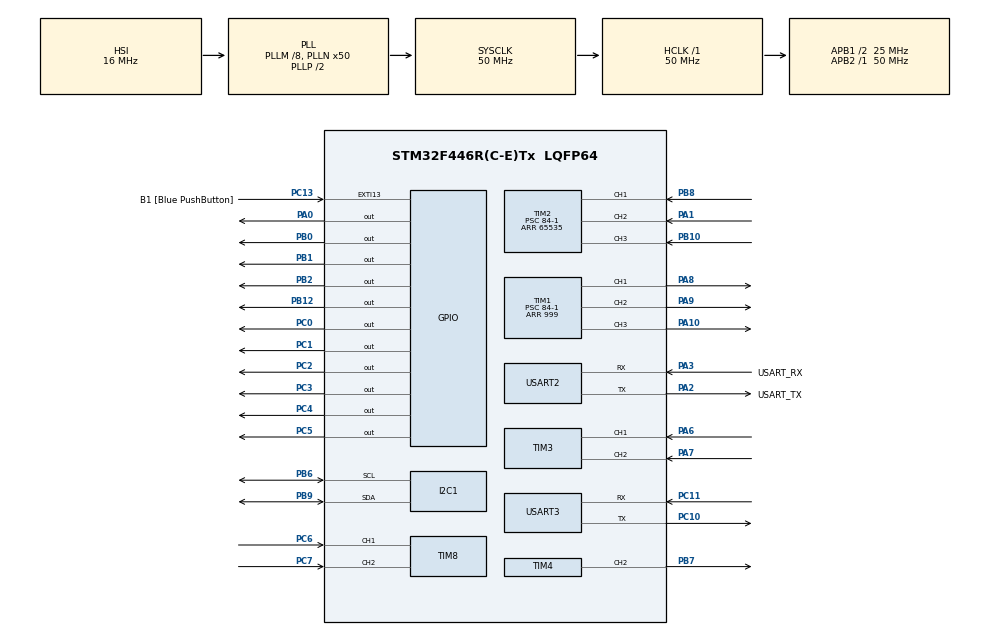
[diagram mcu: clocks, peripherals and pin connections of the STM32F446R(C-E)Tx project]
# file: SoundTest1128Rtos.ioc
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FREERTOS.Mutexes01=myMutex,Dynamic,NULL,Available
FREERTOS.Tasks01=defaultTask,24,128,StartDefaultTask,Default,NULL,Dynamic,NULL,NULL;DrivingTask,16,128,StartDrivingTask,Default,NULL,Dynamic,NULL,NULL;CommTask,8,256,StartCommTask,Default,NULL,Dynamic,NULL,NULL
FREERTOS.configTIMER_TASK_STACK_DEPTH=1024
FREERTOS.configUSE_NEWLIB_REENTRANT=1
I2C1.I2C_Mode=I2C_Fast
Mcu.Family=STM32F4
Mcu.Name=STM32F446R(C-E)Tx
Mcu.Package=LQFP64
NVIC.PriorityGroup=NVIC_PRIORITYGROUP_4
NVIC.TIM1_BRK_TIM9_IRQn=true\:5\:0\:false\:false\:true\:true\:true\:true\:true
NVIC.TIM1_UP_TIM10_IRQn=true\:5\:0\:false\:false\:true\:true\:true\:true\:true
NVIC.TIM2_IRQn=true\:5\:0\:false\:false\:true\:true\:true\:true\:true
NVIC.TIM5_IRQn=true\:15\:0\:false\:false\:true\:false\:false\:true\:true
NVIC.TIM6_DAC_IRQn=true\:5\:0\:false\:false\:true\:true\:true\:true\:true
NVIC.TimeBase=TIM5_IRQn
NVIC.TimeBaseIP=TIM5
NVIC.USART2_IRQn=true\:5\:0\:false\:false\:true\:true\:true\:true\:true
NVIC.USART3_IRQn=true\:5\:0\:false\:false\:true\:true\:true\:true\:true
PA0-WKUP.Signal=GPIO_Output
PA1.Signal=S_TIM2_CH2
PA10.Signal=S_TIM1_CH3
PA13.GPIO_Label=TMS
PA13.Mode=Serial_Wire
PA13.Signal=SYS_JTMS-SWDIO
PA14.GPIO_Label=TCK
PA14.Mode=Serial_Wire
PA14.Signal=SYS_JTCK-SWCLK
PA2.GPIO_Label=USART_TX
PA2.Mode=Asynchronous
PA2.Signal=USART2_TX
PA3.GPIO_Label=USART_RX
PA3.Mode=Asynchronous
PA3.Signal=USART2_RX
PA6.Signal=S_TIM3_CH1
PA7.Signal=S_TIM3_CH2
PA8.Signal=S_TIM1_CH1
PA9.Signal=S_TIM1_CH2
PB0.Signal=GPIO_Output
PB1.Signal=GPIO_Output
PB10.Signal=S_TIM2_CH3
PB12.Signal=GPIO_Output
PB2.Signal=GPIO_Output
PB3.GPIO_Label=SWO
PB3.Signal=SYS_JTDO-SWO
PB6.Mode=I2C
PB6.Signal=I2C1_SCL
PB7.Signal=S_TIM4_CH2
PB8.Signal=S_TIM2_CH1_ETR
PB9.Mode=I2C
PB9.Signal=I2C1_SDA
PC0.Signal=GPIO_Output
PC1.Signal=GPIO_Output
PC10.Mode=Asynchronous
PC10.Signal=USART3_TX
PC11.Mode=Asynchronous
PC11.Signal=USART3_RX
PC13.GPIO_Label=B1 [Blue PushButton]
PC13.GPIO_ModeDefaultEXTI=GPIO_MODE_IT_FALLING
PC13.Signal=GPXTI13
PC14-OSC32_IN.Mode=LSE-External-Oscillator
PC14-OSC32_IN.Signal=RCC_OSC32_IN
PC15-OSC32_OUT.Mode=LSE-External-Oscillator
PC15-OSC32_OUT.Signal=RCC_OSC32_OUT
PC2.Signal=GPIO_Output
PC3.Signal=GPIO_Output
PC4.Signal=GPIO_Output
PC5.Signal=GPIO_Output
PC6.Signal=S_TIM8_CH1
PC7.Signal=S_TIM8_CH2
PH0-OSC_IN.Mode=HSE-External-Oscillator
PH0-OSC_IN.Signal=RCC_OSC_IN
PH1-OSC_OUT.Mode=HSE-External-Oscillator
PH1-OSC_OUT.Signal=RCC_OSC_OUT
ProjectManager.HeapSize=0x200
ProjectManager.StackSize=0x400
ProjectManager.TargetToolchain=STM32CubeIDE
RCC.48MHZClocksFreq_Value=84000000
RCC.AHBFreq_Value=50000000
RCC.APB1CLKDivider=RCC_HCLK_DIV2
RCC.APB1Freq_Value=25000000
RCC.APB1TimFreq_Value=50000000
RCC.APB2Freq_Value=50000000
RCC.APB2TimFreq_Value=50000000
RCC.CortexFreq_Value=50000000
RCC.FLatency-AdvancedSettings=FLASH_LATENCY_1
RCC.HCLKFreq_Value=50000000
RCC.HSE_VALUE=8000000
RCC.HSI_VALUE=16000000
RCC.PLLM=8
RCC.PLLN=50
RCC.SYSCLKFreq_VALUE=50000000
RCC.SYSCLKSource=RCC_SYSCLKSOURCE_PLLCLK
RCC.USBFreq_Value=50000000
RCC.VCOOutputFreq_Value=100000000
SH.S_TIM1_CH1.0=TIM1_CH1,PWM Generation1 CH1
SH.S_TIM1_CH2.0=TIM1_CH2,PWM Generation2 CH2
SH.S_TIM1_CH3.0=TIM1_CH3,PWM Generation3 CH3
SH.S_TIM2_CH1_ETR.0=TIM2_CH1,Input_Capture1_from_TI1
SH.S_TIM2_CH2.0=TIM2_CH2,Input_Capture2_from_TI2
SH.S_TIM2_CH3.0=TIM2_CH3,Input_Capture3_from_TI3
SH.S_TIM3_CH1.0=TIM3_CH1,Encoder_Interface
SH.S_TIM3_CH2.0=TIM3_CH2,Encoder_Interface
SH.S_TIM4_CH2.0=TIM4_CH2,PWM Generation2 CH2
SH.S_TIM8_CH1.0=TIM8_CH1,Encoder_Interface
SH.S_TIM8_CH2.0=TIM8_CH2,Encoder_Interface
TIM1.Channel-PWM\ Generation1\ CH1=TIM_CHANNEL_1
TIM1.Channel-PWM\ Generation2\ CH2=TIM_CHANNEL_2
TIM1.Channel-PWM\ Generation3\ CH3=TIM_CHANNEL_3
TIM1.Period=999
TIM1.Prescaler=84-1
TIM2.Channel-Input_Capture1_from_TI1=TIM_CHANNEL_1
TIM2.Channel-Input_Capture2_from_TI2=TIM_CHANNEL_2
TIM2.Channel-Input_Capture3_from_TI3=TIM_CHANNEL_3
TIM2.Period=65535
TIM2.Prescaler=84-1
TIM4.Channel-PWM\ Generation2\ CH2=TIM_CHANNEL_2
TIM4.Period=999
TIM4.Prescaler=84-1
TIM6.Period=99
TIM6.Prescaler=4999
USART2.VirtualMode=VM_ASYNC
USART3.VirtualMode=VM_ASYNC
VP_FREERTOS_VS_CMSIS_V2.Mode=CMSIS_V2
VP_SYS_VS_tim5.Mode=TIM5
VP_TIM1_VS_ClockSourceINT.Mode=Internal
VP_TIM2_VS_ClockSourceINT.Mode=Internal
VP_TIM6_VS_ClockSourceINT.Mode=Enable_Timer
board=NUCLEO-F446RE

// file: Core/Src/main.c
/* USER CODE BEGIN Header */
/**
  ******************************************************************************
  * @file           : main.c
  * @brief          : Main program body
  ******************************************************************************
  * @attention
  *
  * Copyright (c) 2025 STMicroelectronics.
  * All rights reserved.
  *
  * This software is licensed under terms that can be found in the LICENSE file
  * in the root directory of this software component.
  * If no LICENSE file comes with this software, it is provided AS-IS.
  *
  ******************************************************************************
  */
/* USER CODE END Header */
#include "main.h"
#include "cmsis_os.h"

/* USER CODE BEGIN Includes */
#include <stdio.h>    // printf, sprintf 사용
#include <stdarg.h>   // 가변 인자 사용
#include <math.h>
#include "ESP8266_HAL.h"
#include <string.h>   // strlen 사용
#include "stm32f4xx_hal.h" // HAL 함수 사용
#include "mpu6050.h"  // Edge-AI용 MPU6050 드라이버
#include "edge_ai_wrapper.h"  // Edge Impulse SDK Wrapper 헤더
/* USER CODE END Includes */

/* USER CODE BEGIN PD */
// HC-SR04 핀 정의
#define TRIG_PIN    GPIO_PIN_0
#define TRIG_PORT    GPIOC
#define ECHO_PIN    GPIO_PIN_1
#define ECHO_PORT    GPIOA

#define TRIG_PIN1    GPIO_PIN_1
#define TRIG_PORT1    GPIOC
#define ECHO_PIN1    GPIO_PIN_8
#define ECHO_PORT1    GPIOB

#define TRIG_PIN2    GPIO_PIN_2
#define TRIG_PORT2    GPIOC
#define ECHO_PIN2    GPIO_PIN_10
#define ECHO_PORT2    GPIOB

uint8_t rx_data[100];

// 클럭 설정 (SystemClock_Config 기준 HCLK = 84MHz)
// 1초 = 84,000,000 사이클 -> 1us = 84 사이클
#define DWT_DELAY_UNIT (HAL_RCC_GetHCLKFreq() / 1000000)

// HC-SR04 관련 상수
#define SOUND_SPEED_CM_PER_US 0.0343 // 음속: 343m/s = 0.0343 cm/us
#define MAX_TIMEOUT_US 30000 // 30ms (HC-SR04 최대 측정 거리 고려)

// 모터 1 (A) - ENA: TIM1_CH1 (PA8)
// 방향 핀
#define M1_IN1_PORT GPIOB
#define M1_IN1_PIN  GPIO_PIN_0
#define M1_IN2_PORT GPIOB
#define M1_IN2_PIN  GPIO_PIN_1

// 모터 2 (B) - ENB: TIM1_CH2 (PA9)
// 방향 핀
#define M2_IN1_PORT GPIOB
#define M2_IN1_PIN  GPIO_PIN_2
#define M2_IN2_PORT GPIOB
#define M2_IN2_PIN  GPIO_PIN_12

// 모터 3 (A) - ENA: TIM4_CH2 (Pb7)
#define M3_IN1_PORT GPIOC
#define M3_IN1_PIN  GPIO_PIN_3
#define M3_IN2_PORT GPIOC
#define M3_IN2_PIN  GPIO_PIN_4

// 모터 ID 및 방향 정의
#define MOTOR_A     1
#define MOTOR_B     2
#define MOTOR_C     3

#define FORWARD     1
#define BACKWARD    2
#define RIGHT    3 // 우회전
#define LEFT      4 // 좌회전 (필요시)
#define STOP        0

// PWM 최대값 (CubeMX TIM1 ARR 설정에 따라 변경될 수 있음. 여기서는 1000 가정)
#define PWM_MAX_VALUE 1000

// 벽 감지 임계 거리 (센티미터 단위)
#define WALL_DISTANCE_THRESHOLD 30.0f
// 직진 속도 및 회전 속도 (PWM 값)
#define BASE_SPEED          200
#define TURN_SPEED          300
// 회전 시간 상수 (90도 회전에 필요한 시간, 보정 필요)
#define TURN_90_TIME_MS     3200 // (모터와 바퀴에 따라 크게 달라짐)
// 유턴 시 전진/후진 거리 시간 (본체 폭만큼 이동하기 위한 시간, 보정 필요)
#define BODY_MOVE_TIME_MS   800 // 예시 값 (본체 폭에 따라 조절)

#define MPU6050_ADDR  (0x68 << 1)
#define PWR_MGMT_1    0x6B
#define ACCEL_XOUT_H  0x3B

// Edge-AI 관련 상수
#define EDGE_AI_SAMPLE_COUNT    200    // 2초 @ 100Hz
#define EDGE_AI_AXES            3      // 3축 가속도

/* USER CODE END PD */

I2C_HandleTypeDef hi2c1;

TIM_HandleTypeDef htim1;
TIM_HandleTypeDef htim2;
TIM_HandleTypeDef htim3;
TIM_HandleTypeDef htim4;
TIM_HandleTypeDef htim6;
TIM_HandleTypeDef htim8;

UART_HandleTypeDef huart2;
UART_HandleTypeDef huart3;

/* Definitions for defaultTask */
osThreadId_t defaultTaskHandle;
const osThreadAttr_t defaultTask_attributes = {
  .name = "defaultTask",
  .stack_size = 128 * 4,
  .priority = (osPriority_t) osPriorityNormal,
};
/* Definitions for DrivingTask */
osThreadId_t DrivingTaskHandle;
const osThreadAttr_t DrivingTask_attributes = {
  .name = "DrivingTask",
  .stack_size = 128 * 4,
  .priority = (osPriority_t) osPriorityBelowNormal,
};
/* Definitions for CommTask */
osThreadId_t CommTaskHandle;
const osThreadAttr_t CommTask_attributes = {
  .name = "CommTask",
  .stack_size = 256 * 4,
  .priority = (osPriority_t) osPriorityLow,
};
/* Definitions for myMutex */
osMutexId_t myMutexHandle;
const osMutexAttr_t myMutex_attributes = {
  .name = "myMutex"
};
/* USER CODE BEGIN PV */
TIM_HandleTypeDef htim2;
//2D 맵핑용 위치변수
float g_robot_x = 0.0f;     // 현재의 X 좌표
float g_robot_y = 0.0f;     // 현재의 Y 좌표
float g_robot_yaw = 0.0f;   // 현재의 방향 각도 (단위: 도 Degree)

// Edge-AI 데이터 버퍼
float edge_ai_buffer[EDGE_AI_SAMPLE_COUNT * EDGE_AI_AXES];
volatile uint16_t edge_ai_sample_index = 0;
volatile uint8_t edge_ai_buffer_ready = 0;

// IMU 센서 디버깅용 변수
volatile uint8_t imu_debug_counter = 0;  // 0.1초마다 출력하기 위한 카운터
volatile uint8_t imu_debug_ready = 0;    // 출력 준비 플래그
float imu_debug_ax, imu_debug_ay, imu_debug_az;  // 마지막 측정값 저장

// MQTT 관련 전역 변수
#define WIZFI360_MAX_RESPONSE_SIZE 512
char wizfi_rx_buffer[WIZFI360_MAX_RESPONSE_SIZE];

// MQTT Subscribe 수신 버퍼
#define MQTT_RX_BUF_SIZE 256
char mqtt_rx_buf[MQTT_RX_BUF_SIZE];
int mqtt_rx_len = 0;

// MQTT control 상태 변수
int g_powerOn = -1;          // 0 = OFF, 1 = ON
int g_fanSpeed = -1;         // 0~3
int g_modeManual = -1;       // 0 = AUTO, 1 = MANUAL
char g_direction[8] = "NULL";  // "FWD","BACK","LEFT","RIGHT","STOP"

// Edge-AI 판별 결과 저장 (실시간 업데이트)
char g_current_floor[16] = "Unknown";  // "Hard", "Carpet", "Dusty", "Unknown"
/* USER CODE END PV */

void SystemClock_Config(void);
static void MX_GPIO_Init(void);
static void MX_USART2_UART_Init(void);
static void MX_TIM2_Init(void);
static void MX_TIM1_Init(void);
static void MX_TIM4_Init(void);
static void MX_I2C1_Init(void);
static void MX_USART3_UART_Init(void);
static void MX_TIM3_Init(void);
static void MX_TIM8_Init(void);
static void MX_TIM6_Init(void);
void StartDefaultTask(void *argument);
void StartDrivingTask(void *argument);
void StartCommTask(void *argument);

/* USER CODE BEGIN PFP */
void DWT_Init(void);
void DWT_Delay_us(uint32_t us);
float HCSR04_Read(GPIO_TypeDef *trigPort, uint16_t trigPin,
                  GPIO_TypeDef *echoPort, uint16_t echoPin);
void UART_Printf(const char *format, ...);

// MQTT 함수 선언
void MQTT_ProcessResponseBuffer(uint8_t *buf, uint16_t len);

/* USER CODE END PFP */

/* USER CODE BEGIN 0 */

/**
  * @brief DWT (Data Watchpoint and Trace) 초기화 함수
  * @retval None
  */
void DWT_Init(void) {
    // TRCENA 활성화 (DWT 활성화)
    CoreDebug->DEMCR |= CoreDebug_DEMCR_TRCENA_Msk;
    // CYCCNT 카운터 초기화
    DWT->CYCCNT = 0;
    // CYCCNT 카운터 활성화
    DWT->CTRL |= DWT_CTRL_CYCCNTENA_Msk;
}

/**
  * @brief DWT 기반 마이크로초 지연 함수
  * @param us: 지연할 마이크로초
  * @retval None
  */
void DWT_Delay_us(uint32_t us) {
    uint32_t start_tick = DWT->CYCCNT;
    uint32_t delay_ticks = us * DWT_DELAY_UNIT;
    while ((DWT->CYCCNT - start_tick) < delay_ticks);
}

/**
  * @brief UART2를 이용한 printf 함수
  * @param format: 출력 형식 문자열
  * @retval None
  */
void UART_Printf(const char *format, ...) {
    char str[100];
    va_list args;
    va_start(args, format);
    vsprintf(str, format, args);
    va_end(args);
    // UART 전송 (Blocking 모드)
    HAL_UART_Transmit(&huart2, (uint8_t *)str, strlen(str), HAL_MAX_DELAY);
}

/**
  * @brief HC-SR04 거리 측정 함수
  * @retval 측정 거리 (cm), 실패 시 -1.0
  */
float HCSR04_Read(GPIO_TypeDef *trigPort, uint16_t trigPin,
                  GPIO_TypeDef *echoPort, uint16_t echoPin)
{
    uint32_t start_time, end_time, duration_cycles;

    // 타임아웃 사이클 계산 (us -> cycle)
    // 안전율을 높이기 위해 타임아웃을 50ms로 늘림
    uint32_t timeout_cycles = 50000 * DWT_DELAY_UNIT;

    // [중요] 인터럽트 차단 (RTOS가 측정 방해 못하게 함)
    taskENTER_CRITICAL();

    // 1. Trig 핀 동작 (10us Pulse)
    HAL_GPIO_WritePin(trigPort, trigPin, GPIO_PIN_RESET);
    // 짧은 지연은 루프로 처리 (DWT 호출 오버헤드 줄임)
    for(volatile int i=0; i<10; i++);

    HAL_GPIO_WritePin(trigPort, trigPin, GPIO_PIN_SET);
    // 약 10us 지연
    uint32_t t_pulse = DWT->CYCCNT;
    while((DWT->CYCCNT - t_pulse) < (10 * DWT_DELAY_UNIT));

    HAL_GPIO_WritePin(trigPort, trigPin, GPIO_PIN_RESET);

    // 2. Echo핀 HIGH 대기 (Rising Edge)
    start_time = DWT->CYCCNT;
    while (HAL_GPIO_ReadPin(echoPort, echoPin) == GPIO_PIN_RESET) {
        if ((DWT->CYCCNT - start_time) > timeout_cycles) {
            taskEXIT_CRITICAL(); // 타임아웃 시 반드시 인터럽트 복구
            return -1.0f; // 에러 코드
        }
    }

    // 3. Echo핀 LOW 대기 (Pulse Width 측정)
    start_time = DWT->CYCCNT; // 상승 에지 시점 기록
    while (HAL_GPIO_ReadPin(echoPort, echoPin) == GPIO_PIN_SET) {
        if ((DWT->CYCCNT - start_time) > timeout_cycles) {
            taskEXIT_CRITICAL(); // 타임아웃 시 반드시 인터럽트 복구
            return -2.0f; // 측정 중 타임아웃 에러
        }
    }
    end_time = DWT->CYCCNT;

    // [중요] 측정 끝났으니 인터럽트 허용
    taskEXIT_CRITICAL();

    // 4. 거리 계산
    duration_cycles = end_time - start_time;

    // (사이클 / (1us당 사이클)) * 0.0343 / 2
    float distance = ((float)duration_cycles / (float)DWT_DELAY_UNIT) * 0.0343f / 2.0f;

    // 비정상 값 필터링 (0cm 이나 400cm 이상은 버림)
    if (distance < 0.1f || distance > 400.0f) return -3.0f;

    return distance;
}
/* 안전한 방향 제어 함수 */
void set_motor_direction(uint8_t motor_id, uint8_t direction)
{
    GPIO_TypeDef *in1_port = NULL, *in2_port = NULL;
    uint16_t in1_pin = 0, in2_pin = 0;

    if (motor_id == MOTOR_A) {
        in1_port = M1_IN1_PORT;
        in2_port = M1_IN2_PORT;
        in1_pin  = M1_IN1_PIN;
        in2_pin  = M1_IN2_PIN;
    } else if (motor_id == MOTOR_B) {
        in1_port = M2_IN1_PORT;
        in2_port = M2_IN2_PORT;
        in1_pin  = M2_IN1_PIN;
        in2_pin  = M2_IN2_PIN;
    }else if (motor_id == MOTOR_C) {
        in1_port = M3_IN1_PORT;
        in2_port = M3_IN2_PORT;
        in1_pin  = M3_IN1_PIN;
        in2_pin  = M3_IN2_PIN;
    }
    else {
        return;
    }

    if (direction == FORWARD) {
        HAL_GPIO_WritePin(in1_port, in1_pin, GPIO_PIN_SET);
        HAL_GPIO_WritePin(in2_port, in2_pin, GPIO_PIN_RESET);

    } else if (direction == BACKWARD) {
        HAL_GPIO_WritePin(in1_port, in1_pin, GPIO_PIN_RESET);
        HAL_GPIO_WritePin(in2_port, in2_pin, GPIO_PIN_SET);
    }
    else if (direction == BACKWARD) {
           HAL_GPIO_WritePin(in1_port, in1_pin, GPIO_PIN_RESET);
           HAL_GPIO_WritePin(in2_port, in2_pin, GPIO_PIN_SET);
       }
    else { // STOP (coast)
        HAL_GPIO_WritePin(in1_port, in1_pin, GPIO_PIN_RESET);
        HAL_GPIO_WritePin(in2_port, in2_pin, GPIO_PIN_RESET);
    }
}

/* 속도 설정은 그대로 사용하되 PWM_MAX와 TIM1 ARR 일치 확인 필요 */
void set_motor_speed(uint8_t motor_id, uint16_t speed)
{
    if (speed > PWM_MAX_VALUE) speed = PWM_MAX_VALUE;

    if (motor_id == MOTOR_A) {
        __HAL_TIM_SET_COMPARE(&htim1, TIM_CHANNEL_1, speed);
    } else if (motor_id == MOTOR_B) {
        __HAL_TIM_SET_COMPARE(&htim1, TIM_CHANNEL_2, speed);
    } else if (motor_id == MOTOR_C) {
        __HAL_TIM_SET_COMPARE(&htim1, TIM_CHANNEL_3, speed);
    }

}

/* --- 모터 제어 유틸 함수 추가 --- */
void stop_all_motors(void)
{
    set_motor_speed(MOTOR_A, 0);
    set_motor_speed(MOTOR_B, 0);
    set_motor_speed(MOTOR_C, 0);

    set_motor_direction(MOTOR_A, STOP);
    set_motor_direction(MOTOR_B, STOP);
    set_motor_direction(MOTOR_C, STOP);
}

void move_forward_pwm(uint16_t pwm)
{
    set_motor_direction(MOTOR_A, FORWARD);
    set_motor_direction(MOTOR_B, FORWARD);
    set_motor_direction(MOTOR_C, FORWARD);

    set_motor_speed(MOTOR_A, pwm);
    set_motor_speed(MOTOR_B, pwm);
    set_motor_speed(MOTOR_C, pwm);
}

void clean_go_pwm(uint16_t pwm)
{
    set_motor_direction(MOTOR_C, FORWARD);
    set_motor_speed(MOTOR_C, pwm);
}

void move_backward_pwm(uint16_t pwm)
{
    set_motor_direction(MOTOR_A, BACKWARD);
    set_motor_direction(MOTOR_B, BACKWARD);
    set_motor_speed(MOTOR_A, pwm);
    set_motor_speed(MOTOR_B, pwm);
}

void rotate_right_inplace(uint16_t pwm) // 오른쪽으로 제자리 회전 (좌/우 휠 반대방향)
{
    // 왼쪽 앞바퀴 전진, 오른쪽 바퀴 후진 -> 우회전
    set_motor_direction(MOTOR_A, FORWARD);   // 왼쪽
    set_motor_direction(MOTOR_B, BACKWARD);  // 오른쪽
    set_motor_speed(MOTOR_A, pwm);
    set_motor_speed(MOTOR_B, pwm);
}

void rotate_left_inplace(uint16_t pwm) // 왼쪽으로 제자리 회전
{
    set_motor_direction(MOTOR_A, BACKWARD);
    set_motor_direction(MOTOR_B, FORWARD);
    set_motor_speed(MOTOR_A, pwm);
    set_motor_speed(MOTOR_B, pwm);
}

/* 간단한 유턴: 제자리 180도 회전 (두번 90도) */
void perform_u_turn(void)
{
    // 180도: 두 번 90도 회전
    rotate_right_inplace(TURN_SPEED);
    HAL_Delay(TURN_90_TIME_MS);
    stop_all_motors();
    HAL_Delay(100);

    rotate_right_inplace(TURN_SPEED);
    HAL_Delay(TURN_90_TIME_MS);
    stop_all_motors();
    HAL_Delay(100);
}

/* 장애물 발견 시 회피 시퀀스:
   1) 정지
   2) 백업(짧게)
   3) 제자리 회전 90도 (우회전)
   4) 전진 (몸체 폭 만큼)
   5) 유턴(180)으로 라인 닫기(옵션)
*/
void R_avoidance_sequence(void)
{
    // 1) 정지
    stop_all_motors();
    osDelay(50);

    // 2) 백업
    move_backward_pwm(BASE_SPEED);
    osDelay(300); // 300ms 뒤로 (조정 필요)
    stop_all_motors();
    osDelay(50);

    // 3) 제자리 우회전 90도
    rotate_right_inplace(TURN_SPEED);
    osDelay(TURN_90_TIME_MS);
    stop_all_motors();
    osDelay(50);

    // 4) 전진으로 통과
    move_forward_pwm(BASE_SPEED);
    osDelay(BODY_MOVE_TIME_MS);
    stop_all_motors();
    osDelay(50);

    // 3) 제자리 우회전 90도
        rotate_right_inplace(TURN_SPEED);
        osDelay(TURN_90_TIME_MS);
        stop_all_motors();
        osDelay(50);
}

void L_avoidance_sequence(void)
{
    // 1) 정지
    stop_all_motors();
    osDelay(50);

    // 2) 백업
    move_backward_pwm(BASE_SPEED);
    osDelay(300); // 300ms 뒤로 (조정 필요)
    stop_all_motors();
    osDelay(50);

    // 3) 제자리 좌회전 90도
    rotate_left_inplace(TURN_SPEED);
    osDelay(TURN_90_TIME_MS);
    stop_all_motors();
    osDelay(50);

    // 4) 전진으로 통과
    move_forward_pwm(BASE_SPEED);
    osDelay(BODY_MOVE_TIME_MS);
    stop_all_motors();
    osDelay(50);

    // 3) 제자리 좌회전 90도
        rotate_left_inplace(TURN_SPEED);
        osDelay(TURN_90_TIME_MS);
        stop_all_motors();
        osDelay(50);

}

/**
  * @brief 모터 제어를 위해 필요한 초기 설정을 수행합니다.
  * @retval None
  */
void motor_control_init(void)
{
    // 1. PWM 출력 시작 (PA8: ENA, PA9: ENB)
    HAL_TIM_PWM_Start(&htim1, TIM_CHANNEL_1);
    HAL_TIM_PWM_Start(&htim1, TIM_CHANNEL_2);
    HAL_TIM_PWM_Start(&htim1, TIM_CHANNEL_3);

    // 2. 초기 모터 방향 설정 (정지)
    set_motor_direction(MOTOR_A, STOP);
    set_motor_direction(MOTOR_B, STOP);
    set_motor_direction(MOTOR_C, STOP);

    // 3. 초기 모터 속도 설정 (0)
    set_motor_speed(MOTOR_A, 0);
    set_motor_speed(MOTOR_B, 0);
    set_motor_speed(MOTOR_C, 0);

}

// 현재 control 상태를 PuTTY(USART2)에 출력하는 디버그용 함수
void Send_AT_Command(UART_HandleTypeDef *huart_wiz, UART_HandleTypeDef *huart_term, const char *command, uint8_t *response_buffer, uint16_t buffer_size, uint32_t timeout)
{
    // 1. 터미널(huart_term, PuTTY)로 전송할 명령 표시
    char tx_log[64];
    int len = snprintf(tx_log, sizeof(tx_log), "\r\n[CMD] Sending: %s\r\n", command);
    HAL_UART_Transmit(huart_term, (uint8_t *)tx_log, len, HAL_MAX_DELAY);

    // 2. WizFi360 (huart_wiz)에 명령 전송 (명령어 끝에 CR+LF(\r\n) 필수)
    char cmd_with_crlf[128];
    snprintf(cmd_with_crlf, sizeof(cmd_with_crlf), "%s\r\n", command);
    HAL_UART_Transmit(huart_wiz, (uint8_t *)cmd_with_crlf, strlen(cmd_with_crlf), 500);

    // 3. 응답 수신 준비
    memset(response_buffer, 0, buffer_size); // 버퍼 초기화
    uint16_t index = 0;
    uint32_t start_tick = HAL_GetTick();

    // 4. WizFi360으로부터 응답 수신 (간단한 타임아웃 폴링 방식)
    while ((HAL_GetTick() - start_tick) < timeout)
    {
        uint8_t rx_byte;
        // HAL_UART_Receive는 지정된 타임아웃 내에 1바이트를 수신합니다.
        if (HAL_UART_Receive(huart_wiz, &rx_byte, 1, 100) == HAL_OK)
        {
            if (index < buffer_size - 1)
            {
                response_buffer[index++] = rx_byte;
            }
            // 새로운 바이트를 수신할 때마다 타임아웃을 연장합니다.
            start_tick = HAL_GetTick();
        }
    }

    // 5. 수신된 응답을 터미널(huart_term, PuTTY)로 출력
    char *rx_header = "[RSP] Response Received:\r\n";
    HAL_UART_Transmit(huart_term, (uint8_t *)rx_header, strlen(rx_header), HAL_MAX_DELAY);

    MQTT_ProcessResponseBuffer(response_buffer, index);

    // 수신된 raw 데이터를 그대로 터미널로 출력
    HAL_UART_Transmit(huart_term, response_buffer, index, HAL_MAX_DELAY);

    char *rx_footer = "\r\n[END] ----------------------------------\r\n";
    HAL_UART_Transmit(huart_term, (uint8_t *)rx_footer, strlen(rx_footer), HAL_MAX_DELAY);
}

// 현재 control 상태를 PuTTY(USART2)에 출력하는 디버그용 함수
static void Debug_PrintControlState(const char *topic, const char *json)
{
    char buf[160];

    int len = snprintf(buf, sizeof(buf),
                       "\r\n[CONTROL] topic = %s\r\n"
                       "          json  = %s\r\n"
                       "          power = %d, speed = %d, mode = %d, dir = %s\r\n",
                       topic,
                       json,
                       g_powerOn,
                       g_fanSpeed,
                       g_modeManual,
                       g_direction);

    HAL_UART_Transmit(&huart2, (uint8_t *)buf, len, HAL_MAX_DELAY);
}

// -----------------------------------------------------
// MQTT 초기화용 공용 AT 명령 함수들
// -----------------------------------------------------

uint8_t MQTT_SetConfig(
    UART_HandleTypeDef *huart_wiz,
    UART_HandleTypeDef *huart_term,
    const char *user,
    const char *pass,
    const char *clientID,
    int aliveTime,
    uint8_t *resp, uint16_t resp_size
) {
    char cmd[256];
    snprintf(cmd, sizeof(cmd),
             "AT+MQTTSET=\"%s\",\"%s\",\"%s\",%d",
             user, pass, clientID, aliveTime);

    Send_AT_Command(huart_wiz, huart_term, cmd, resp, resp_size, 3000);
    return strstr((char*)resp, "OK") != NULL;
}

uint8_t MQTT_SetTopics(
    UART_HandleTypeDef *huart_wiz,
    UART_HandleTypeDef *huart_term,
    const char *pubTopic,
    const char *subTopic,
    uint8_t *resp, uint16_t resp_size
) {
    char cmd[256];
    snprintf(cmd, sizeof(cmd),
             "AT+MQTTTOPIC=\"%s\",\"%s\"",
             pubTopic, subTopic);

    Send_AT_Command(huart_wiz, huart_term, cmd, resp, resp_size, 3000);
    return strstr((char*)resp, "OK") != NULL;
}

uint8_t MQTT_SetQos(
    UART_HandleTypeDef *huart_wiz,
    UART_HandleTypeDef *huart_term,
    int qos,
    uint8_t *resp, uint16_t resp_size
) {
    char cmd[32];
    snprintf(cmd, sizeof(cmd), "AT+MQTTQOS=%d", qos);

    Send_AT_Command(huart_wiz, huart_term, cmd, resp, resp_size, 2000);
    return strstr((char*)resp, "OK") != NULL;
}

uint8_t MQTT_ConnectBroker(
    UART_HandleTypeDef *huart_wiz,
    UART_HandleTypeDef *huart_term,
    const char *brokerIP,
    int port,
    uint8_t *resp, uint16_t resp_size
) {
    char cmd[128];
    snprintf(cmd, sizeof(cmd),
             "AT+MQTTCON=0,\"%s\",%d",
             brokerIP, port);

    Send_AT_Command(huart_wiz, huart_term, cmd, resp, resp_size, 6000);

    return strstr((char*)resp, "CONNECT") || strstr((char*)resp, "OK");
}

uint8_t MQTT_Init_All(
    UART_HandleTypeDef *huart_wiz,
    UART_HandleTypeDef *huart_term
){
    uint8_t resp[512];

    // -------- Wi-Fi 연결 --------
    Send_AT_Command(huart_wiz, huart_term, "AT", resp, sizeof(resp), 1000);
    Send_AT_Command(huart_wiz, huart_term, "AT+RST", resp, sizeof(resp), 5000);
    Send_AT_Command(huart_wiz, huart_term, "AT+CWMODE=1", resp, sizeof(resp), 2000);

    // WiFi 접속
    Send_AT_Command(huart_wiz, huart_term,
        "AT+CWJAP=\"S24\",\"dial8787@@\"",
        resp, sizeof(resp), 15000);

    // -------- MQTT 설정 --------
    if (!MQTT_SetConfig(huart_wiz, huart_term,
                        "", "", "vibeclean01", 300,
                        resp, sizeof(resp))) return 0;

    if (!MQTT_SetTopics(huart_wiz, huart_term,
                        "vibeclean/robot1/telemetry",
                        "vibeclean/robot1/control/#",
                        resp, sizeof(resp))) return 0;

    if (!MQTT_SetQos(huart_wiz, huart_term, 0, resp, sizeof(resp)))
        return 0;

    if (!MQTT_ConnectBroker(huart_wiz, huart_term,
                            "192.168.178.61", 1883,
                            resp, sizeof(resp)))
        return 0;

    return 1;
}

void Publish_Message(void)
{
    char cmd[512];
    char json_message[400];

    osMutexWait(myMutexHandle, osWaitForever); // 자물쇠 잠그기
    // 실시간 센서 데이터와 AI 판별 결과를 포함한 JSON 생성
    snprintf(json_message, sizeof(json_message),
        "{\"currentFloor\":\"%s\",\"fanSpeed\":%d,"
        "\"position\":{\"x\":%.2f,\"y\":%.2f},"
        "\"sensor\":{\"x\":%.3f,\"y\":%.3f,\"z\":%.3f}}",
        g_current_floor,
        g_fanSpeed > 0 ? g_fanSpeed : 1,
        g_robot_x,
        g_robot_y,
        imu_debug_ax,
        imu_debug_ay,
        imu_debug_az);

    osMutexRelease(myMutexHandle); // 자물쇠 열기

        // 전송 (AT 커맨드) - 여기는 Mutex 밖에서 해야 함! (오래 걸리니까)

    // topic은 이미 AT+MQTTTOPIC로 설정되어 있으므로 메시지만 전달
    snprintf(cmd, sizeof(cmd), "AT+MQTTPUB=\"%s\"", json_message);
    Send_AT_Command(&huart3, &huart2, cmd, wizfi_rx_buffer, WIZFI360_MAX_RESPONSE_SIZE, 1000);
//    WizFi_SendOnly(&huart3, &huart2, cmd); //wizfi통해서 보내기만 하는 애
}

// 토픽과 JSON을 보고 상태 변수에 반영
void HandleControlJson(const char *topic, const char *json)
{
    if (strstr(topic, "control/power")) {
        if (strstr(json, "\"ON\""))  g_powerOn = 1;
        if (strstr(json, "\"OFF\"")) g_powerOn = 0;
    }
    else if (strstr(topic, "control/speed")) {
        int v = 0;
        // 숫자 하나만 뽑는 단순 파서 (예: {"fanSpeed":2})
        sscanf(json, "%*[^0-9]%d", &v);
        if (v < 0) v = 0;
        if (v > 3) v = 3;
        g_fanSpeed = v;
    }
    else if (strstr(topic, "control/mode")) {
        if (strstr(json, "\"MANUAL\"")) g_modeManual = 1;
        if (strstr(json, "\"AUTO\""))   g_modeManual = 0;
    }
    else if (strstr(topic, "control/direction")) {
        if (strstr(json, "\"FWD\""))   strcpy(g_direction, "FWD");
        else if (strstr(json, "\"BACK\""))  strcpy(g_direction, "BACK");
        else if (strstr(json, "\"LEFT\""))  strcpy(g_direction, "LEFT");
        else if (strstr(json, "\"RIGHT\"")) strcpy(g_direction, "RIGHT");
        else if (strstr(json, "\"STOP\""))  strcpy(g_direction, "STOP");
    }

    Debug_PrintControlState(topic, json);
}

// WizFi360이 보낸 한 줄(line)을 토픽 / json 으로 분리
void ParseMqttLine(char *line, int len)
{
    line[len] = '\0';

    // "topic->\"...\"" 형식에서 화살표 위치 찾기
    char *arrow = strstr(line, "->");
    if (!arrow) return;

    *arrow = '\0';
    char *topic = line;
    char *payload = arrow + 2;

    // 공백/따옴표 건너뛰기
    while (*payload == ' ' || *payload == '"' || *payload == '\r' || *payload == '\n')
        payload++;

    // JSON 시작 '{' 위치 찾기
    char *brace = strchr(payload, '{');
    if (!brace) return;

    char *end = strrchr(brace, '}');
    if (!end) return;
    *(end + 1) = '\0';   // JSON 문자열을 '\0'로 끝나게

    HandleControlJson(topic, brace);
}

// WizFi360 응답 버퍼 전체에서 "topic -> { json }" 형태의 구독 메시지를 찾아 처리
void MQTT_ProcessResponseBuffer(uint8_t *buf, uint16_t len)
{
    char line[256];
    uint16_t pos = 0;

    for (uint16_t i = 0; i < len; i++) {
        char c = (char)buf[i];

        // CR은 무시
        if (c == '\r') {
            continue;
        }

        // 줄 끝이거나 line 버퍼가 꽉 찬 경우
        if (c == '\n' || pos >= sizeof(line) - 1) {

            if (pos > 0) {
                line[pos] = '\0';

                // "->" 들어간 라인만 MQTT 메시지로 인정
                if (strstr(line, "->")) {
                    ParseMqttLine(line, strlen(line));
                }
            }

            pos = 0;
        }
        else {
            // 일반 문자는 line에 저장
            line[pos++] = c;
        }
    }

    // 마지막 라인이 '\n' 없이 종료되었을 때 처리
    if (pos > 0) {
        line[pos] = '\0';
        if (strstr(line, "->")) {
            ParseMqttLine(line, strlen(line));
        }
    }
}
/* USER CODE END 0 */

int main(void)
{

  /* USER CODE BEGIN 1 */
//Putty 작동 테스트용 변수
	int countL, countR; //  엔코더 카운트 저장 변수
	char debug_msg[100]; // 디버깅 메시지 버퍼

  /* USER CODE END 1 */

  /* MCU Configuration--------------------------------------------------------*/

  /* Reset of all peripherals, Initializes the Flash interface and the Systick. */
  HAL_Init();

  /* Configure the system clock */
  SystemClock_Config();

  /* Initialize all configured peripherals */
  MX_GPIO_Init();
  MX_USART2_UART_Init();
  MX_TIM2_Init();
  MX_TIM1_Init();
  MX_TIM4_Init();
  MX_I2C1_Init();
  MX_USART3_UART_Init();
  MX_TIM3_Init();
  MX_TIM8_Init();
  MX_TIM6_Init();
  /* USER CODE BEGIN 2 */
  // DWT 초기화 (마이크로초 측정을 위해 필수)
  DWT_Init();
  UART_Printf("STM32 HC-SR04 Measurement Ready (Trig: PA0, Echo: PA1)\r\n");

  motor_control_init(); // <- 반드시 호출 (PWM Start + 초기화)
  HAL_TIM_PWM_Start(&htim4, TIM_CHANNEL_1);

  //엔코더 카운팅 시작
  HAL_TIM_Encoder_Start(&htim3, TIM_CHANNEL_ALL);
  HAL_TIM_Encoder_Start(&htim8, TIM_CHANNEL_ALL);

  // Edge-AI 초기화
  UART_Printf("\r\n=== VibeClean Edge-AI Test ===\r\n");

  // I2C 통신 테스트
  UART_Printf("Testing I2C communication...\r\n");
  uint8_t who_am_i = MPU6050_WhoAmI(&hi2c1);
  UART_Printf("WHO_AM_I Register: 0x%02X (Expected: 0x68)\r\n", who_am_i);

  // MPU6050 센서 초기화
//  UART_Printf("Initializing MPU6050...\r\n");
//  HAL_StatusTypeDef mpu_status = MPU6050_Init(&hi2c1);
//
//  if (mpu_status == HAL_OK) {
//      UART_Printf("MPU6050 Init: OK\r\n");
//  } else {
//      UART_Printf("MPU6050 Init: FAILED! (Status: %d)\r\n", mpu_status);
//      UART_Printf("Check I2C connections (SDA: PB9, SCL: PB8)\r\n");
//      UART_Printf("Check MPU6050 power supply (3.3V)\r\n");
//      UART_Printf("Check pull-up resistors on SDA/SCL (4.7k ohm)\r\n");
//  }
//
//  // Edge Impulse 분류기 초기화
//  if (edge_ai_init() == 0) {
//      UART_Printf("Edge Impulse Init: OK\r\n");
//  } else {
//      UART_Printf("Edge Impulse Init: FAILED!\r\n");
//  }

  // TIM6 100Hz 인터럽트 시작
//  HAL_TIM_Base_Start_IT(&htim6);
//  UART_Printf("TIM6 100Hz Timer: Started\r\n");
//  UART_Printf("Collecting %d samples (%.1f seconds)...\r\n\r\n",
//              EDGE_AI_SAMPLE_COUNT, EDGE_AI_SAMPLE_COUNT / 100.0f);

  /* USER CODE END 2 */

  /* Init scheduler */
  osKernelInitialize();
  /* Create the mutex(es) */
  /* creation of myMutex */
  myMutexHandle = osMutexNew(&myMutex_attributes);

  /* Create the thread(s) */
  /* creation of defaultTask */
  defaultTaskHandle = osThreadNew(StartDefaultTask, NULL, &defaultTask_attributes);

  /* creation of DrivingTask */
  DrivingTaskHandle = osThreadNew(StartDrivingTask, NULL, &DrivingTask_attributes);

  /* creation of CommTask */
  CommTaskHandle = osThreadNew(StartCommTask, NULL, &CommTask_attributes);

  /* Start scheduler */
  osKernelStart();

  /* We should never get here as control is now taken by the scheduler */

  /* Infinite loop */
  /* USER CODE BEGIN WHILE */
  int failCount = 0;
  int tempAovoid = 0; // 0 = right, 1 = left

  char post_data_buffer[150]; //json 문자열 버퍼
  uint32_t last_pub_tick = 0; // 마지막 메시지 발행 시간 저장

  char *start_msg = "STM32 WizFi360 MQTT Test Start! (PuTTY=USART2, WizFi360=USART3)\r\n";
  //  HAL_UART_Transmit(&huart2, (uint8_t *)start_msg, strlen(start_msg), HAL_MAX_DELAY);

  HAL_Delay(1000); // WizFi360 부팅 대기

  //  Setup_WiFi_And_MQTT();
  MQTT_Init_All(&huart3, &huart2);   // Wiz: huart1, Terminal: huart2
//

  osKernelStart(); // 여기서 RTOS 시작! (이 아래 코드는 실행 안 됨)
  while (1)
  {

    /* USER CODE END WHILE */

  }
}

void SystemClock_Config(void)
{
  RCC_OscInitTypeDef RCC_OscInitStruct = {0};
  RCC_ClkInitTypeDef RCC_ClkInitStruct = {0};

  /** Configure the main internal regulator output voltage
  */
  __HAL_RCC_PWR_CLK_ENABLE();
  __HAL_PWR_VOLTAGESCALING_CONFIG(PWR_REGULATOR_VOLTAGE_SCALE3);

  /** Initializes the RCC Oscillators according to the specified parameters
  * in the RCC_OscInitTypeDef structure.
  */
  RCC_OscInitStruct.OscillatorType = RCC_OSCILLATORTYPE_HSI;
  RCC_OscInitStruct.HSIState = RCC_HSI_ON;
  RCC_OscInitStruct.HSICalibrationValue = RCC_HSICALIBRATION_DEFAULT;
  RCC_OscInitStruct.PLL.PLLState = RCC_PLL_ON;
  RCC_OscInitStruct.PLL.PLLSource = RCC_PLLSOURCE_HSI;
  RCC_OscInitStruct.PLL.PLLM = 8;
  RCC_OscInitStruct.PLL.PLLN = 50;
  RCC_OscInitStruct.PLL.PLLP = RCC_PLLP_DIV2;
  RCC_OscInitStruct.PLL.PLLQ = 2;
  RCC_OscInitStruct.PLL.PLLR = 2;
  if (HAL_RCC_OscConfig(&RCC_OscInitStruct) != HAL_OK)
  {
    Error_Handler();
  }

  /** Initializes the CPU, AHB and APB buses clocks
  */
  RCC_ClkInitStruct.ClockType = RCC_CLOCKTYPE_HCLK|RCC_CLOCKTYPE_SYSCLK
                              |RCC_CLOCKTYPE_PCLK1|RCC_CLOCKTYPE_PCLK2;
  RCC_ClkInitStruct.SYSCLKSource = RCC_SYSCLKSOURCE_PLLCLK;
  RCC_ClkInitStruct.AHBCLKDivider = RCC_SYSCLK_DIV1;
  RCC_ClkInitStruct.APB1CLKDivider = RCC_HCLK_DIV2;
  RCC_ClkInitStruct.APB2CLKDivider = RCC_HCLK_DIV1;

  if (HAL_RCC_ClockConfig(&RCC_ClkInitStruct, FLASH_LATENCY_1) != HAL_OK)
  {
    Error_Handler();
  }
}

static void MX_I2C1_Init(void)
{

  hi2c1.Instance = I2C1;
  hi2c1.Init.ClockSpeed = 400000;
  hi2c1.Init.DutyCycle = I2C_DUTYCYCLE_2;
  hi2c1.Init.OwnAddress1 = 0;
  hi2c1.Init.AddressingMode = I2C_ADDRESSINGMODE_7BIT;
  hi2c1.Init.DualAddressMode = I2C_DUALADDRESS_DISABLE;
  hi2c1.Init.OwnAddress2 = 0;
  hi2c1.Init.GeneralCallMode = I2C_GENERALCALL_DISABLE;
  hi2c1.Init.NoStretchMode = I2C_NOSTRETCH_DISABLE;
  if (HAL_I2C_Init(&hi2c1) != HAL_OK)
  {
    Error_Handler();
  }

}

static void MX_TIM1_Init(void)
{

  TIM_ClockConfigTypeDef sClockSourceConfig = {0};
  TIM_MasterConfigTypeDef sMasterConfig = {0};
  TIM_OC_InitTypeDef sConfigOC = {0};
  TIM_BreakDeadTimeConfigTypeDef sBreakDeadTimeConfig = {0};

  htim1.Instance = TIM1;
  htim1.Init.Prescaler = 84-1;
  htim1.Init.CounterMode = TIM_COUNTERMODE_UP;
  htim1.Init.Period = 999;
  htim1.Init.ClockDivision = TIM_CLOCKDIVISION_DIV1;
  htim1.Init.RepetitionCounter = 0;
  htim1.Init.AutoReloadPreload = TIM_AUTORELOAD_PRELOAD_DISABLE;
  if (HAL_TIM_Base_Init(&htim1) != HAL_OK)
  {
    Error_Handler();
  }
  sClockSourceConfig.ClockSource = TIM_CLOCKSOURCE_INTERNAL;
  if (HAL_TIM_ConfigClockSource(&htim1, &sClockSourceConfig) != HAL_OK)
  {
    Error_Handler();
  }
  if (HAL_TIM_PWM_Init(&htim1) != HAL_OK)
  {
    Error_Handler();
  }
  sMasterConfig.MasterOutputTrigger = TIM_TRGO_RESET;
  sMasterConfig.MasterSlaveMode = TIM_MASTERSLAVEMODE_DISABLE;
  if (HAL_TIMEx_MasterConfigSynchronization(&htim1, &sMasterConfig) != HAL_OK)
  {
    Error_Handler();
  }
  sConfigOC.OCMode = TIM_OCMODE_PWM1;
  sConfigOC.Pulse = 0;
  sConfigOC.OCPolarity = TIM_OCPOLARITY_HIGH;
  sConfigOC.OCNPolarity = TIM_OCNPOLARITY_HIGH;
  sConfigOC.OCFastMode = TIM_OCFAST_DISABLE;
  sConfigOC.OCIdleState = TIM_OCIDLESTATE_RESET;
  sConfigOC.OCNIdleState = TIM_OCNIDLESTATE_RESET;
  if (HAL_TIM_PWM_ConfigChannel(&htim1, &sConfigOC, TIM_CHANNEL_1) != HAL_OK)
  {
    Error_Handler();
  }
  if (HAL_TIM_PWM_ConfigChannel(&htim1, &sConfigOC, TIM_CHANNEL_2) != HAL_OK)
  {
    Error_Handler();
  }
  if (HAL_TIM_PWM_ConfigChannel(&htim1, &sConfigOC, TIM_CHANNEL_3) != HAL_OK)
  {
    Error_Handler();
  }
  sBreakDeadTimeConfig.OffStateRunMode = TIM_OSSR_DISABLE;
  sBreakDeadTimeConfig.OffStateIDLEMode = TIM_OSSI_DISABLE;
  sBreakDeadTimeConfig.LockLevel = TIM_LOCKLEVEL_OFF;
  sBreakDeadTimeConfig.DeadTime = 0;
  sBreakDeadTimeConfig.BreakState = TIM_BREAK_DISABLE;
  sBreakDeadTimeConfig.BreakPolarity = TIM_BREAKPOLARITY_HIGH;
  sBreakDeadTimeConfig.AutomaticOutput = TIM_AUTOMATICOUTPUT_DISABLE;
  if (HAL_TIMEx_ConfigBreakDeadTime(&htim1, &sBreakDeadTimeConfig) != HAL_OK)
  {
    Error_Handler();
  }
  HAL_TIM_MspPostInit(&htim1);

}

static void MX_TIM2_Init(void)
{

  TIM_ClockConfigTypeDef sClockSourceConfig = {0};
  TIM_MasterConfigTypeDef sMasterConfig = {0};
  TIM_IC_InitTypeDef sConfigIC = {0};

  htim2.Instance = TIM2;
  htim2.Init.Prescaler = 84-1;
  htim2.Init.CounterMode = TIM_COUNTERMODE_UP;
  htim2.Init.Period = 65535;
  htim2.Init.ClockDivision = TIM_CLOCKDIVISION_DIV1;
  htim2.Init.AutoReloadPreload = TIM_AUTORELOAD_PRELOAD_DISABLE;
  if (HAL_TIM_Base_Init(&htim2) != HAL_OK)
  {
    Error_Handler();
  }
  sClockSourceConfig.ClockSource = TIM_CLOCKSOURCE_INTERNAL;
  if (HAL_TIM_ConfigClockSource(&htim2, &sClockSourceConfig) != HAL_OK)
  {
    Error_Handler();
  }
  if (HAL_TIM_IC_Init(&htim2) != HAL_OK)
  {
    Error_Handler();
  }
  sMasterConfig.MasterOutputTrigger = TIM_TRGO_RESET;
  sMasterConfig.MasterSlaveMode = TIM_MASTERSLAVEMODE_DISABLE;
  if (HAL_TIMEx_MasterConfigSynchronization(&htim2, &sMasterConfig) != HAL_OK)
  {
    Error_Handler();
  }
  sConfigIC.ICPolarity = TIM_INPUTCHANNELPOLARITY_RISING;
  sConfigIC.ICSelection = TIM_ICSELECTION_DIRECTTI;
  sConfigIC.ICPrescaler = TIM_ICPSC_DIV1;
  sConfigIC.ICFilter = 0;
  if (HAL_TIM_IC_ConfigChannel(&htim2, &sConfigIC, TIM_CHANNEL_1) != HAL_OK)
  {
    Error_Handler();
  }
  if (HAL_TIM_IC_ConfigChannel(&htim2, &sConfigIC, TIM_CHANNEL_2) != HAL_OK)
  {
    Error_Handler();
  }
  if (HAL_TIM_IC_ConfigChannel(&htim2, &sConfigIC, TIM_CHANNEL_3) != HAL_OK)
  {
    Error_Handler();
  }

}

static void MX_TIM3_Init(void)
{

  TIM_Encoder_InitTypeDef sConfig = {0};
  TIM_MasterConfigTypeDef sMasterConfig = {0};

  htim3.Instance = TIM3;
  htim3.Init.Prescaler = 0;
  htim3.Init.CounterMode = TIM_COUNTERMODE_UP;
  htim3.Init.Period = 65535;
  htim3.Init.ClockDivision = TIM_CLOCKDIVISION_DIV1;
  htim3.Init.AutoReloadPreload = TIM_AUTORELOAD_PRELOAD_DISABLE;
  sConfig.EncoderMode = TIM_ENCODERMODE_TI1;
  sConfig.IC1Polarity = TIM_ICPOLARITY_RISING;
  sConfig.IC1Selection = TIM_ICSELECTION_DIRECTTI;
  sConfig.IC1Prescaler = TIM_ICPSC_DIV1;
  sConfig.IC1Filter = 0;
  sConfig.IC2Polarity = TIM_ICPOLARITY_RISING;
  sConfig.IC2Selection = TIM_ICSELECTION_DIRECTTI;
  sConfig.IC2Prescaler = TIM_ICPSC_DIV1;
  sConfig.IC2Filter = 0;
  if (HAL_TIM_Encoder_Init(&htim3, &sConfig) != HAL_OK)
  {
    Error_Handler();
  }
  sMasterConfig.MasterOutputTrigger = TIM_TRGO_RESET;
  sMasterConfig.MasterSlaveMode = TIM_MASTERSLAVEMODE_DISABLE;
  if (HAL_TIMEx_MasterConfigSynchronization(&htim3, &sMasterConfig) != HAL_OK)
  {
    Error_Handler();
  }

}

static void MX_TIM4_Init(void)
{

  TIM_MasterConfigTypeDef sMasterConfig = {0};
  TIM_OC_InitTypeDef sConfigOC = {0};

  htim4.Instance = TIM4;
  htim4.Init.Prescaler = 84-1;
  htim4.Init.CounterMode = TIM_COUNTERMODE_UP;
  htim4.Init.Period = 999;
  htim4.Init.ClockDivision = TIM_CLOCKDIVISION_DIV1;
  htim4.Init.AutoReloadPreload = TIM_AUTORELOAD_PRELOAD_DISABLE;
  if (HAL_TIM_PWM_Init(&htim4) != HAL_OK)
  {
    Error_Handler();
  }
  sMasterConfig.MasterOutputTrigger = TIM_TRGO_RESET;
  sMasterConfig.MasterSlaveMode = TIM_MASTERSLAVEMODE_DISABLE;
  if (HAL_TIMEx_MasterConfigSynchronization(&htim4, &sMasterConfig) != HAL_OK)
  {
    Error_Handler();
  }
  sConfigOC.OCMode = TIM_OCMODE_PWM1;
  sConfigOC.Pulse = 0;
  sConfigOC.OCPolarity = TIM_OCPOLARITY_HIGH;
  sConfigOC.OCFastMode = TIM_OCFAST_DISABLE;
  if (HAL_TIM_PWM_ConfigChannel(&htim4, &sConfigOC, TIM_CHANNEL_2) != HAL_OK)
  {
    Error_Handler();
  }
  HAL_TIM_MspPostInit(&htim4);

}

static void MX_TIM6_Init(void)
{

  TIM_MasterConfigTypeDef sMasterConfig = {0};

  htim6.Instance = TIM6;
  htim6.Init.Prescaler = 4999;
  htim6.Init.CounterMode = TIM_COUNTERMODE_UP;
  htim6.Init.Period = 99;
  htim6.Init.AutoReloadPreload = TIM_AUTORELOAD_PRELOAD_DISABLE;
  if (HAL_TIM_Base_Init(&htim6) != HAL_OK)
  {
    Error_Handler();
  }
  sMasterConfig.MasterOutputTrigger = TIM_TRGO_RESET;
  sMasterConfig.MasterSlaveMode = TIM_MASTERSLAVEMODE_DISABLE;
  if (HAL_TIMEx_MasterConfigSynchronization(&htim6, &sMasterConfig) != HAL_OK)
  {
    Error_Handler();
  }

}

static void MX_TIM8_Init(void)
{

  TIM_Encoder_InitTypeDef sConfig = {0};
  TIM_MasterConfigTypeDef sMasterConfig = {0};

  htim8.Instance = TIM8;
  htim8.Init.Prescaler = 0;
  htim8.Init.CounterMode = TIM_COUNTERMODE_UP;
  htim8.Init.Period = 65535;
  htim8.Init.ClockDivision = TIM_CLOCKDIVISION_DIV1;
  htim8.Init.RepetitionCounter = 0;
  htim8.Init.AutoReloadPreload = TIM_AUTORELOAD_PRELOAD_DISABLE;
  sConfig.EncoderMode = TIM_ENCODERMODE_TI1;
  sConfig.IC1Polarity = TIM_ICPOLARITY_RISING;
  sConfig.IC1Selection = TIM_ICSELECTION_DIRECTTI;
  sConfig.IC1Prescaler = TIM_ICPSC_DIV1;
  sConfig.IC1Filter = 0;
  sConfig.IC2Polarity = TIM_ICPOLARITY_RISING;
  sConfig.IC2Selection = TIM_ICSELECTION_DIRECTTI;
  sConfig.IC2Prescaler = TIM_ICPSC_DIV1;
  sConfig.IC2Filter = 0;
  if (HAL_TIM_Encoder_Init(&htim8, &sConfig) != HAL_OK)
  {
    Error_Handler();
  }
  sMasterConfig.MasterOutputTrigger = TIM_TRGO_RESET;
  sMasterConfig.MasterSlaveMode = TIM_MASTERSLAVEMODE_DISABLE;
  if (HAL_TIMEx_MasterConfigSynchronization(&htim8, &sMasterConfig) != HAL_OK)
  {
    Error_Handler();
  }

}

static void MX_USART2_UART_Init(void)
{

  huart2.Instance = USART2;
  huart2.Init.BaudRate = 115200;
  huart2.Init.WordLength = UART_WORDLENGTH_8B;
  huart2.Init.StopBits = UART_STOPBITS_1;
  huart2.Init.Parity = UART_PARITY_NONE;
  huart2.Init.Mode = UART_MODE_TX_RX;
  huart2.Init.HwFlowCtl = UART_HWCONTROL_NONE;
  huart2.Init.OverSampling = UART_OVERSAMPLING_16;
  if (HAL_UART_Init(&huart2) != HAL_OK)
  {
    Error_Handler();
  }

}

static void MX_USART3_UART_Init(void)
{

  huart3.Instance = USART3;
  huart3.Init.BaudRate = 115200;
  huart3.Init.WordLength = UART_WORDLENGTH_8B;
  huart3.Init.StopBits = UART_STOPBITS_1;
  huart3.Init.Parity = UART_PARITY_NONE;
  huart3.Init.Mode = UART_MODE_TX_RX;
  huart3.Init.HwFlowCtl = UART_HWCONTROL_NONE;
  huart3.Init.OverSampling = UART_OVERSAMPLING_16;
  if (HAL_UART_Init(&huart3) != HAL_OK)
  {
    Error_Handler();
  }

}

static void MX_GPIO_Init(void)
{
  GPIO_InitTypeDef GPIO_InitStruct = {0};

  /* GPIO Ports Clock Enable */
  __HAL_RCC_GPIOC_CLK_ENABLE();
  __HAL_RCC_GPIOH_CLK_ENABLE();
  __HAL_RCC_GPIOA_CLK_ENABLE();
  __HAL_RCC_GPIOB_CLK_ENABLE();

  /*Configure GPIO pin Output Level */
  HAL_GPIO_WritePin(GPIOC, GPIO_PIN_0|GPIO_PIN_1|GPIO_PIN_2|GPIO_PIN_3
                          |GPIO_PIN_4|GPIO_PIN_5, GPIO_PIN_RESET);

  /*Configure GPIO pin Output Level */
  HAL_GPIO_WritePin(GPIOA, GPIO_PIN_0, GPIO_PIN_RESET);

  /*Configure GPIO pin Output Level */
  HAL_GPIO_WritePin(GPIOB, GPIO_PIN_0|GPIO_PIN_1|GPIO_PIN_2|GPIO_PIN_12, GPIO_PIN_RESET);

  /*Configure GPIO pin : B1_Pin */
  GPIO_InitStruct.Pin = B1_Pin;
  GPIO_InitStruct.Mode = GPIO_MODE_IT_FALLING;
  GPIO_InitStruct.Pull = GPIO_NOPULL;
  HAL_GPIO_Init(B1_GPIO_Port, &GPIO_InitStruct);

  /*Configure GPIO pins : PC0 PC1 PC2 PC3
                           PC4 PC5 */
  GPIO_InitStruct.Pin = GPIO_PIN_0|GPIO_PIN_1|GPIO_PIN_2|GPIO_PIN_3
                          |GPIO_PIN_4|GPIO_PIN_5;
  GPIO_InitStruct.Mode = GPIO_MODE_OUTPUT_PP;
  GPIO_InitStruct.Pull = GPIO_NOPULL;
  GPIO_InitStruct.Speed = GPIO_SPEED_FREQ_LOW;
  HAL_GPIO_Init(GPIOC, &GPIO_InitStruct);

  /*Configure GPIO pin : PA0 */
  GPIO_InitStruct.Pin = GPIO_PIN_0;
  GPIO_InitStruct.Mode = GPIO_MODE_OUTPUT_PP;
  GPIO_InitStruct.Pull = GPIO_NOPULL;
  GPIO_InitStruct.Speed = GPIO_SPEED_FREQ_LOW;
  HAL_GPIO_Init(GPIOA, &GPIO_InitStruct);

  /*Configure GPIO pins : PB0 PB1 PB2 PB12 */
  GPIO_InitStruct.Pin = GPIO_PIN_0|GPIO_PIN_1|GPIO_PIN_2|GPIO_PIN_12;
  GPIO_InitStruct.Mode = GPIO_MODE_OUTPUT_PP;
  GPIO_InitStruct.Pull = GPIO_NOPULL;
  GPIO_InitStruct.Speed = GPIO_SPEED_FREQ_LOW;
  HAL_GPIO_Init(GPIOB, &GPIO_InitStruct);

  /* USER CODE BEGIN MX_GPIO_Init_2 */
  // PA0 (Trig) Output 설정
  GPIO_InitStruct.Pin = TRIG_PIN; // PA0
  GPIO_InitStruct.Mode = GPIO_MODE_OUTPUT_PP;
  GPIO_InitStruct.Pull = GPIO_NOPULL;
  GPIO_InitStruct.Speed = GPIO_SPEED_FREQ_HIGH;
  HAL_GPIO_Init(TRIG_PORT, &GPIO_InitStruct);

  // PA1 (Echo) Input 설정
  GPIO_InitStruct.Pin = ECHO_PIN; // PA1
  GPIO_InitStruct.Mode = GPIO_MODE_INPUT;
  GPIO_InitStruct.Pull = GPIO_NOPULL; // HC-SR04는 보통 풀업/풀다운 불필요
  HAL_GPIO_Init(ECHO_PORT, &GPIO_InitStruct);

  // S2: PC1 (TRIG), PA15 (ECHO)
  GPIO_InitStruct.Pin = TRIG_PIN1; // PC1
  GPIO_InitStruct.Mode = GPIO_MODE_OUTPUT_PP;
  GPIO_InitStruct.Pull = GPIO_NOPULL;
  GPIO_InitStruct.Speed = GPIO_SPEED_FREQ_HIGH;
  HAL_GPIO_Init(TRIG_PORT1, &GPIO_InitStruct);

  GPIO_InitStruct.Pin = ECHO_PIN1; // PA15
  GPIO_InitStruct.Mode = GPIO_MODE_INPUT;
  GPIO_InitStruct.Pull = GPIO_NOPULL;
  HAL_GPIO_Init(ECHO_PORT1, &GPIO_InitStruct);

  /* USER CODE END MX_GPIO_Init_2 */
}

/* USER CODE BEGIN 4 */

/**
  * @brief  TIM6 인터럽트 콜백 - Edge-AI 100Hz 데이터 수집 + IMU 디버깅
  */
void HAL_TIM_PeriodElapsedCallback(TIM_HandleTypeDef *htim)
{
    if (htim->Instance == TIM6) {
        if (!edge_ai_buffer_ready) {
            float ax, ay, az;

            // MPU6050에서 가속도 읽기
            if (MPU6050_ReadAccel(&hi2c1, &ax, &ay, &az) == HAL_OK) {
                // Edge-AI 버퍼에 저장(현재 ax는 1.0g 단위이므로, 다시 16384.0f를 곱함)
                edge_ai_buffer[edge_ai_sample_index * 3 + 0] = ax * 16384.0f;
                edge_ai_buffer[edge_ai_sample_index * 3 + 1] = ay * 16384.0f;
                edge_ai_buffer[edge_ai_sample_index * 3 + 2] = az * 16384.0f;

                // 디버깅용 - 10번마다 한 번씩(0.1초) 센서값 저장
                imu_debug_counter++;
                if (imu_debug_counter >= 10) {
                    imu_debug_ax = ax;
                    imu_debug_ay = ay;
                    imu_debug_az = az;
                    imu_debug_ready = 1;  // 출력 준비 완료
                    imu_debug_counter = 0;
                }

                edge_ai_sample_index++;

                // 버퍼가 가득 찼으면 플래그 설정
                if (edge_ai_sample_index >= EDGE_AI_SAMPLE_COUNT) {
                    edge_ai_buffer_ready = 1;
                    edge_ai_sample_index = 0;
                }
            }
        }
    }
}

/* USER CODE END 4 */

void StartDefaultTask(void *argument)
{
  for(;;)
  {
    osDelay(1);
  }
}

void StartDrivingTask(void *argument)
{
  for(;;)
  {
    osDelay(1);
  }
}

void StartCommTask(void *argument)
{
  /* USER CODE BEGIN StartCommTask */

  // 1. Wi-Fi 및 MQTT 초기화 (한 번만 실행, 오래 걸려도 됨)
  // DrivingTask는 이미 돌고 있으므로 여기서 10초가 걸려도 로봇은 움직임
  UART_Printf("Connecting to WiFi & MQTT...\r\n");
  MQTT_Init_All(&huart3, &huart2);

  for(;;)
  {
    // 2. 현재 상태를 MQTT로 전송 (Publish)
    // 전송할 데이터를 Mutex로 안전하게 캡처
    // (직접 전송 함수 안에서 Mutex를 잡는 것보다, 복사본을 만들고 전송하는 게 좋음)

    // 여기서는 간단하게 기존 Publish 함수 호출
    // Publish 내부에서 AT 커맨드 주고받느라 1~2초 걸려도 DrivingTask는 계속 돕니다.
    Publish_Message();

    // 3. 수신 버퍼 확인 (Subscribe 데이터 처리)
    // 기존의 MQTT_ProcessResponseBuffer 로직이 인터럽트 방식이 아니라면
    // 여기서 주기적으로 UART 수신 버퍼를 체크하거나 AT 커맨드로 수신 확인

    // 4. 주기 설정 (500ms ~ 1000ms)
    // 너무 자주 보내면 WizFi 모듈이 뻗을 수 있음
    osDelay(500);
  }
  /* USER CODE END StartCommTask */
}

void Error_Handler(void)
{
  __disable_irq();
  while (1)
  {
  }
}
